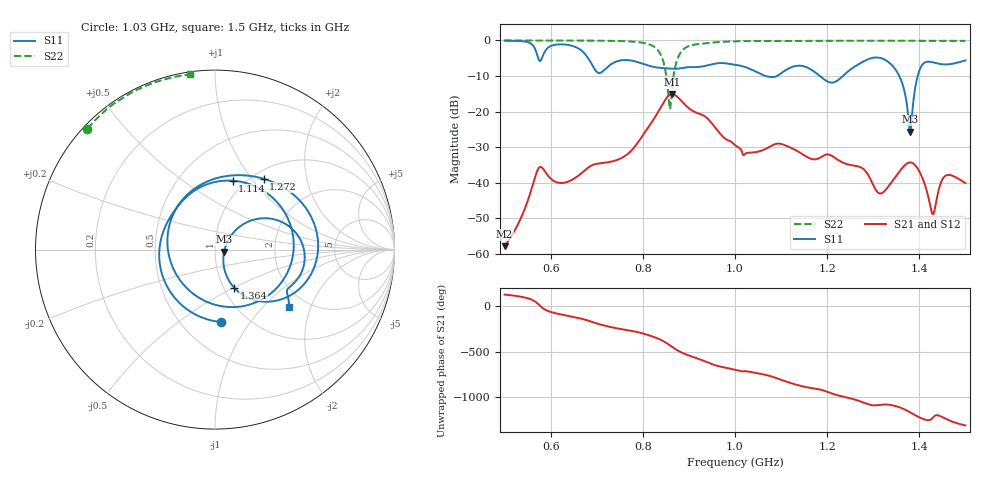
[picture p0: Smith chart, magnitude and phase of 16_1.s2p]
! TOUCHSTONE file generated by CST MICROWAVE STUDIO
! Date and time: Sat Nov 14 20:36:31 2020
! Project name: Scenario_1_Planar_Body_Tissue_Out_of_Line_v2.cst
! Parameters = {dy1=86.5; L_HA=400; Ltissue=700; MT=2.54; Rad_Dielectric=30; Rad_Lower=7.3; Rad_Upper=30; Wtissue=700; a_HA=580; a_WG=246; b_HA=500; b_WG=121; c_HA=0; c_WG=187; d_feed=85; dx1=173; h_feed=15; h_lower=18; h_upper=40; hfat=3; hgap=25; hmuscle=50; hskin=1.5}
! Header version: 2018
! Port assignment regex: !\s*Touchstone port\s*([0-9]+)\s*=\s*(CST MWS port|CST DS port)\s*([0-9]+|Zmin|Zmax)\s*\(\"(.*)\"\)(\s*mode\s*([0-9]+))?.*
! Touchstone port assignment:
! Touchstone port 1 = CST MWS port 1 ("")
! Touchstone port 2 = CST MWS port 2 ("")
# GHz S DB R 50
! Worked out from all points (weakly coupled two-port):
!   1003 points, 500 MHz to 1.5 GHz, reference 50 ohm
!   highest |S21| = -15.10 dB at 864 MHz (marker M1); lowest = -57.8 dB at 500 MHz (marker M2)
!   lowest |S11| = -25.7 dB at 1.38 GHz (marker M3), VSWR 1.11, Z = 55.3 - j1.37 ohm
!   |S11| at or under -10 dB: 1.066 GHz to 1.091 GHz (24.49 MHz wide, 2.27 % of centre); 1.184 GHz to 1.234 GHz (49.95 MHz wide, 4.13 % of centre); 1.356 GHz to 1.396 GHz (39.93 MHz wide, 2.9 % of centre)
!   |S22| runs from -19.3 to 0.0 dB; largest |S21 - S12| = 1.8e-05
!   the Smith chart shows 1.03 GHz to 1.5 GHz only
!   S11 on the Smith chart (normalised r, x): 1.03 GHz: 0.76, -0.73; 1.114 GHz: 0.88, +0.80; 1.272 GHz: 1.12, +1.15; 1.364 GHz: 1.12, -0.50; 1.5 GHz: 1.62, -1.43
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0.5  -0.04 -121.7  -57.83 130.6  -57.83 130.6  -0.01 151.2
0.575  -5.62 -162.8  -35.74 15.2  -35.74 15.2  -0.02 146.0
0.628  -1.12 172.0  -40.02 -93.9  -40.02 -93.9  -0.03 141.9
0.667  -2.86 109.1  -37.30 -136.0  -37.30 -136.0  -0.04 138.4
0.693  -7.57 22.5  -34.92 -176.4  -34.92 -176.4  -0.06 135.7
0.717  -8.23 -94.8  -34.38 148.3  -34.38 148.3  -0.09 132.7
0.757  -5.54 166.2  -32.82 106.1  -32.82 106.1  -0.20 126.2
0.834  -7.65 18.2  -19.91 2.7  -19.91 2.7  -2.98 84.7
0.864  -7.94 -60.5  -15.10 -87.9  -15.10 -87.9  -12.86 -119.3
0.904  -7.50 -172.1  -19.47 171.8  -19.47 171.8  -1.41 164.8
0.945  -6.86 89.0  -22.57 92.5  -22.57 92.5  -0.68 150.2
1  -6.83 -25.9  -29.42 21.3  -29.42 21.3  -0.25 140.4
1.03  -7.86 -85.5  -31.56 0.7  -31.56 0.7  -0.18 136.5
1.114  -8.04 75.6  -29.76 -113.5  -29.76 -113.5  -0.11 128.6
1.167  -8.35 -46.1  -33.33 179.1  -33.33 179.1  -0.10 124.1
1.221  -11.39 170.1  -33.38 102.8  -33.38 102.8  -0.09 120.1
1.272  -6.40 55.6  -35.62 33.5  -35.62 33.5  -0.08 116.2
1.334  -6.18 -31.3  -40.85 -3.5  -40.85 -3.5  -0.08 111.6
1.364  -12.49 -63.3  -35.69 -45.8  -35.69 -45.8  -0.09 109.2
1.38  -25.66 -13.7  -34.29 -87.4  -34.29 -87.4  -0.09 108.0
1.408  -6.62 10.1  -39.08 -159.6  -39.08 -159.6  -0.10 105.8
1.5  -5.63 -38.0  -40.08 128.1  -40.08 128.1  -0.12 98.0
